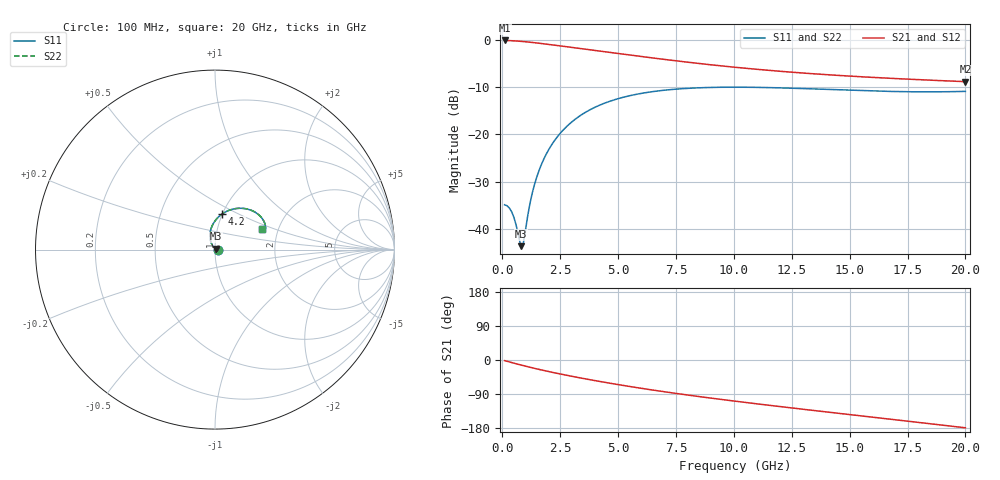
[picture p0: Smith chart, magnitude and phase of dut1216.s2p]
! Touchstone file exported from HFSS 2024.1.0
!  File:  C:/UserFiles/LocalFiles/RDL_TSV_Batchsim/temp_RDL_TSV_1216_1780260940.aedt
!  Generated:  05:12:28 AM Jun  1, 2026
!  Design:  RDL_TSV
!  Project:  temp_RDL_TSV_1216_1780260940
!  Setup:  Setup1
!  Solution:  Sweep
! Variables:
!  dtsv = 11.85um
!  hbump = 3um
!  htsv = 72.05um
!  ldown = 456.31um
!  lrdl = 266.31um
!  p = 40
!  p1 = 52.75um
!  rhole = 10um
!  subl = 2434.17um
!  t = 450um
!  tdown = 2.22um
!  trdl = 4.58um
!  viad = 10um
!  wdown = 14.78um
!  wrdl = 25.6um
!  xbump = 18um
# GHz S MA R 50.000000
! Terminal data exported
! Port[1] = TM1_1_T1
! Port[2] = TM1_4_T1
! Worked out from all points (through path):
!   200 points, 100 MHz to 20 GHz, reference 50 ohm
!   highest |S21| = -0.16 dB at 100 MHz (marker M1); lowest = -8.9 dB at 20 GHz (marker M2)
!   group delay of S21, straight-line fit = 23.2 ps
!   lowest |S11| = -43.6 dB at 800 MHz (marker M3), VSWR 1.01, Z = 50.5 + j0.454 ohm
!   |S11| at or under -10 dB: start of sweep to end of sweep
!   |S22| runs from -43.6 to -10.0 dB; largest |S21 - S12| = 3.2e-14
!   S11 on the Smith chart (normalised r, x): 100 MHz: 1.04, +0.00; 4.2 GHz: 1.00, +0.41; 20 GHz: 1.65, +0.40
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0.1  0.01804 0.8  0.9814 -1.7  0.9814 -1.7  0.01804 0.8
! Gamma 0 0 0 0
! Port Impedance 50 0 50 0
0.3  0.01673 1.5  0.978 -5.1  0.978 -5.1  0.01673 1.5
0.5  0.01332 4.0  0.9724 -8.4  0.9724 -8.4  0.01332 4.0
0.6  0.01095 8.7  0.9689 -10.0  0.9689 -10.0  0.01094 8.7
0.8  0.006587 43.0  0.9608 -13.1  0.9608 -13.1  0.006587 43.1
0.9  0.006858 77.7  0.9561 -14.7  0.9561 -14.7  0.006867 77.8
1.2  0.01886 118.3  0.9405 -19.3  0.9405 -19.3  0.01888 118.3
1.4  0.03005 120.7  0.9289 -22.2  0.9289 -22.2  0.03008 120.7
1.6  0.04233 119.4  0.9168 -25.0  0.9168 -25.0  0.04236 119.4
1.8  0.05527 116.8  0.9044 -27.8  0.9044 -27.8  0.05532 116.8
2.1  0.07538 111.9  0.8854 -31.8  0.8854 -31.8  0.07543 111.9
2.5  0.1025 104.8  0.8602 -36.9  0.8602 -36.9  0.1025 104.8
3  0.1352 96.3  0.8292 -43.0  0.8292 -43.0  0.1353 96.3
3.5  0.1657 88.4  0.7991 -48.8  0.7991 -48.8  0.1658 88.4
4.2  0.2031 78.5  0.7587 -56.6  0.7587 -56.6  0.2033 78.5
5.4  0.2526 64.3  0.6941 -68.9  0.6941 -68.9  0.2527 64.3
6.8  0.289 51.3  0.6276 -82.1  0.6276 -82.1  0.2892 51.3
8.4  0.3095 40.1  0.5638 -95.7  0.5638 -95.7  0.3097 40.1
10.1  0.315 31.4  0.5098 -109.0  0.5098 -109.0  0.3153 31.4
13.4  0.302 22.0  0.4369 -132.9  0.4369 -132.9  0.3022 22.0
16.7  0.2842 20.2  0.3914 -155.8  0.3914 -155.8  0.2845 20.3
20  0.2844 23.2  0.3602 -178.9  0.3602 -178.9  0.2847 23.2
